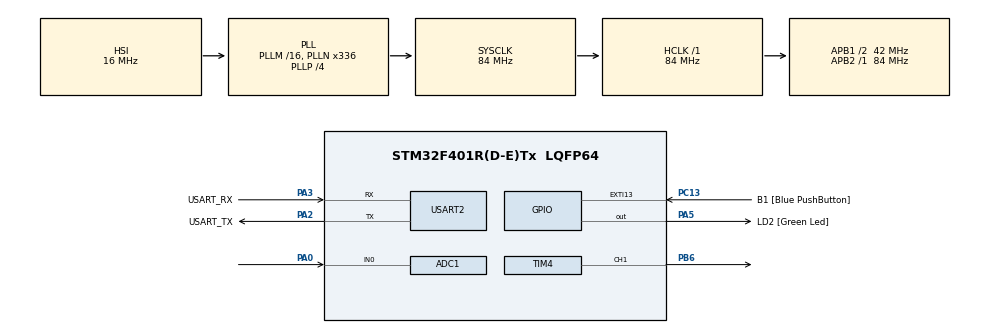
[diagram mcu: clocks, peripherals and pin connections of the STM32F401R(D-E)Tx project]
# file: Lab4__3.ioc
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ADC1.Channel-0\#ChannelRegularConversion=ADC_CHANNEL_0
ADC1.NbrOfConversionFlag=1
ADC1.Rank-0\#ChannelRegularConversion=1
ADC1.SamplingTime-0\#ChannelRegularConversion=ADC_SAMPLETIME_3CYCLES
ADC1.master=1
Mcu.Family=STM32F4
Mcu.Name=STM32F401R(D-E)Tx
Mcu.Package=LQFP64
NVIC.ADC_IRQn=true\:2\:0\:true\:false\:true\:true\:true\:true
NVIC.PriorityGroup=NVIC_PRIORITYGROUP_2
NVIC.TIM4_IRQn=true\:2\:0\:true\:false\:true\:true\:true\:true
PA0-WKUP.Signal=ADCx_IN0
PA13.GPIO_Label=TMS
PA13.Mode=Serial_Wire
PA13.Signal=SYS_JTMS-SWDIO
PA14.GPIO_Label=TCK
PA14.Mode=Serial_Wire
PA14.Signal=SYS_JTCK-SWCLK
PA2.GPIO_Label=USART_TX
PA2.GPIO_Mode=GPIO_MODE_AF_PP
PA2.GPIO_PuPd=GPIO_NOPULL
PA2.GPIO_Speed=GPIO_SPEED_FREQ_LOW
PA2.Mode=Asynchronous
PA2.Signal=USART2_TX
PA3.GPIO_Label=USART_RX
PA3.GPIO_Mode=GPIO_MODE_AF_PP
PA3.GPIO_PuPd=GPIO_NOPULL
PA3.GPIO_Speed=GPIO_SPEED_FREQ_LOW
PA3.Mode=Asynchronous
PA3.Signal=USART2_RX
PA5.GPIO_Label=LD2 [Green Led]
PA5.GPIO_Mode=GPIO_MODE_OUTPUT_PP
PA5.GPIO_PuPd=GPIO_NOPULL
PA5.GPIO_Speed=GPIO_SPEED_FREQ_LOW
PA5.Signal=GPIO_Output
PB3.GPIO_Label=SWO
PB3.Signal=SYS_JTDO-SWO
PB6.Signal=S_TIM4_CH1
PC13-ANTI_TAMP.GPIO_Label=B1 [Blue PushButton]
PC13-ANTI_TAMP.GPIO_ModeDefaultEXTI=GPIO_MODE_IT_FALLING
PC13-ANTI_TAMP.GPIO_PuPd=GPIO_NOPULL
PC13-ANTI_TAMP.Signal=GPXTI13
PC14-OSC32_IN.Mode=LSE-External-Oscillator
PC14-OSC32_IN.Signal=RCC_OSC32_IN
PC15-OSC32_OUT.Mode=LSE-External-Oscillator
PC15-OSC32_OUT.Signal=RCC_OSC32_OUT
PH0\ -\ OSC_IN.Mode=HSE-External-Clock-Source
PH0\ -\ OSC_IN.Signal=RCC_OSC_IN
PH1\ -\ OSC_OUT.Mode=HSE-External-Clock-Source
PH1\ -\ OSC_OUT.Signal=RCC_OSC_OUT
ProjectManager.HeapSize=0x200
ProjectManager.StackSize=0x400
ProjectManager.TargetToolchain=STM32CubeIDE
RCC.48MHZClocksFreq_Value=48000000
RCC.AHBFreq_Value=84000000
RCC.APB1CLKDivider=RCC_HCLK_DIV2
RCC.APB1Freq_Value=42000000
RCC.APB1TimFreq_Value=84000000
RCC.APB2Freq_Value=84000000
RCC.APB2TimFreq_Value=84000000
RCC.CortexFreq_Value=84000000
RCC.HCLKFreq_Value=84000000
RCC.HSE_VALUE=8000000
RCC.HSI_VALUE=16000000
RCC.PLLN=336
RCC.PLLP=RCC_PLLP_DIV4
RCC.PLLQ=7
RCC.SYSCLKFreq_VALUE=84000000
RCC.SYSCLKSource=RCC_SYSCLKSOURCE_PLLCLK
RCC.VCOOutputFreq_Value=336000000
SH.ADCx_IN0.0=ADC1_IN0,IN0
SH.S_TIM4_CH1.0=TIM4_CH1,PWM Generation1 CH1
TIM4.Channel-PWM\ Generation1\ CH1=TIM_CHANNEL_1
TIM4.Period=99
TIM4.Prescaler=83
TIM4.Pulse-PWM\ Generation1\ CH1=50
USART2.VirtualMode=VM_ASYNC
VP_TIM4_VS_ClockSourceINT.Mode=Internal
board=NUCLEO-F401RE

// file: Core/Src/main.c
/* USER CODE BEGIN Header */
/**
  ******************************************************************************
  * @file           : main.c
  * @brief          : Main program body
  ******************************************************************************
  * @attention
  *
  * Copyright (c) 2023 STMicroelectronics.
  * All rights reserved.
  *
  * This software is licensed under terms that can be found in the LICENSE file
  * in the root directory of this software component.
  * If no LICENSE file comes with this software, it is provided AS-IS.
  *
  ******************************************************************************
  */
/* USER CODE END Header */
#include "main.h"

ADC_HandleTypeDef hadc1;

TIM_HandleTypeDef htim4;

UART_HandleTypeDef huart2;

void SystemClock_Config(void);
static void MX_GPIO_Init(void);
static void MX_USART2_UART_Init(void);
static void MX_ADC1_Init(void);
static void MX_TIM4_Init(void);

int main(void)
{

  /* MCU Configuration--------------------------------------------------------*/

  /* Reset of all peripherals, Initializes the Flash interface and the Systick. */
  HAL_Init();

  /* Configure the system clock */
  SystemClock_Config();

  /* Initialize all configured peripherals */
  MX_GPIO_Init();
  MX_USART2_UART_Init();
  MX_ADC1_Init();
  MX_TIM4_Init();
  /* USER CODE BEGIN 2 */
  float mx = 210,mn = 2200;
  float adcval;
  char buf[10];
  int pmw;
  HAL_TIM_Base_Start_IT(&htim4);//start timer
  HAL_TIM_PWM_Start_IT(&htim4, TIM_CHANNEL_1);//start pwm
  /* USER CODE END 2 */

  /* Infinite loop */
  /* USER CODE BEGIN WHILE */
  while (1)
  {
	  HAL_ADC_Start(&hadc1);
	  if(HAL_ADC_PollForConversion(&hadc1, 1000) == HAL_OK){
	  	adcval = HAL_ADC_GetValue(&hadc1);
	  }
	  if(mx < adcval){
		  mx = adcval;
	  }
	  if(mn > adcval){
		  mn = adcval;
	  }
	  float c = mx-adcval;
	  float p = mx-mn;
	  if(mx == mn){
		  pmw = 100;
	  }
	  else{
		  pmw = (1.0-c/p)*100.0;
	  }
	  TIM4->CCR1 = pmw;
	  sprintf(buf,"%d\r\n", pmw);
	  HAL_UART_Transmit(&huart2, (uint8_t *)buf,sizeof(buf), 100);
    /* USER CODE END WHILE */

  }
}

void SystemClock_Config(void)
{
  RCC_OscInitTypeDef RCC_OscInitStruct = {0};
  RCC_ClkInitTypeDef RCC_ClkInitStruct = {0};

  /** Configure the main internal regulator output voltage
  */
  __HAL_RCC_PWR_CLK_ENABLE();
  __HAL_PWR_VOLTAGESCALING_CONFIG(PWR_REGULATOR_VOLTAGE_SCALE2);

  /** Initializes the RCC Oscillators according to the specified parameters
  * in the RCC_OscInitTypeDef structure.
  */
  RCC_OscInitStruct.OscillatorType = RCC_OSCILLATORTYPE_HSI;
  RCC_OscInitStruct.HSIState = RCC_HSI_ON;
  RCC_OscInitStruct.HSICalibrationValue = RCC_HSICALIBRATION_DEFAULT;
  RCC_OscInitStruct.PLL.PLLState = RCC_PLL_ON;
  RCC_OscInitStruct.PLL.PLLSource = RCC_PLLSOURCE_HSI;
  RCC_OscInitStruct.PLL.PLLM = 16;
  RCC_OscInitStruct.PLL.PLLN = 336;
  RCC_OscInitStruct.PLL.PLLP = RCC_PLLP_DIV4;
  RCC_OscInitStruct.PLL.PLLQ = 7;
  if (HAL_RCC_OscConfig(&RCC_OscInitStruct) != HAL_OK)
  {
    Error_Handler();
  }

  /** Initializes the CPU, AHB and APB buses clocks
  */
  RCC_ClkInitStruct.ClockType = RCC_CLOCKTYPE_HCLK|RCC_CLOCKTYPE_SYSCLK
                              |RCC_CLOCKTYPE_PCLK1|RCC_CLOCKTYPE_PCLK2;
  RCC_ClkInitStruct.SYSCLKSource = RCC_SYSCLKSOURCE_PLLCLK;
  RCC_ClkInitStruct.AHBCLKDivider = RCC_SYSCLK_DIV1;
  RCC_ClkInitStruct.APB1CLKDivider = RCC_HCLK_DIV2;
  RCC_ClkInitStruct.APB2CLKDivider = RCC_HCLK_DIV1;

  if (HAL_RCC_ClockConfig(&RCC_ClkInitStruct, FLASH_LATENCY_2) != HAL_OK)
  {
    Error_Handler();
  }
}

static void MX_ADC1_Init(void)
{

  ADC_ChannelConfTypeDef sConfig = {0};

  /** Configure the global features of the ADC (Clock, Resolution, Data Alignment and number of conversion)
  */
  hadc1.Instance = ADC1;
  hadc1.Init.ClockPrescaler = ADC_CLOCK_SYNC_PCLK_DIV4;
  hadc1.Init.Resolution = ADC_RESOLUTION_12B;
  hadc1.Init.ScanConvMode = DISABLE;
  hadc1.Init.ContinuousConvMode = DISABLE;
  hadc1.Init.DiscontinuousConvMode = DISABLE;
  hadc1.Init.ExternalTrigConvEdge = ADC_EXTERNALTRIGCONVEDGE_NONE;
  hadc1.Init.ExternalTrigConv = ADC_SOFTWARE_START;
  hadc1.Init.DataAlign = ADC_DATAALIGN_RIGHT;
  hadc1.Init.NbrOfConversion = 1;
  hadc1.Init.DMAContinuousRequests = DISABLE;
  hadc1.Init.EOCSelection = ADC_EOC_SINGLE_CONV;
  if (HAL_ADC_Init(&hadc1) != HAL_OK)
  {
    Error_Handler();
  }

  /** Configure for the selected ADC regular channel its corresponding rank in the sequencer and its sample time.
  */
  sConfig.Channel = ADC_CHANNEL_0;
  sConfig.Rank = 1;
  sConfig.SamplingTime = ADC_SAMPLETIME_3CYCLES;
  if (HAL_ADC_ConfigChannel(&hadc1, &sConfig) != HAL_OK)
  {
    Error_Handler();
  }

}

static void MX_TIM4_Init(void)
{

  TIM_ClockConfigTypeDef sClockSourceConfig = {0};
  TIM_MasterConfigTypeDef sMasterConfig = {0};
  TIM_OC_InitTypeDef sConfigOC = {0};

  htim4.Instance = TIM4;
  htim4.Init.Prescaler = 83;
  htim4.Init.CounterMode = TIM_COUNTERMODE_UP;
  htim4.Init.Period = 99;
  htim4.Init.ClockDivision = TIM_CLOCKDIVISION_DIV1;
  htim4.Init.AutoReloadPreload = TIM_AUTORELOAD_PRELOAD_DISABLE;
  if (HAL_TIM_Base_Init(&htim4) != HAL_OK)
  {
    Error_Handler();
  }
  sClockSourceConfig.ClockSource = TIM_CLOCKSOURCE_INTERNAL;
  if (HAL_TIM_ConfigClockSource(&htim4, &sClockSourceConfig) != HAL_OK)
  {
    Error_Handler();
  }
  if (HAL_TIM_PWM_Init(&htim4) != HAL_OK)
  {
    Error_Handler();
  }
  sMasterConfig.MasterOutputTrigger = TIM_TRGO_RESET;
  sMasterConfig.MasterSlaveMode = TIM_MASTERSLAVEMODE_DISABLE;
  if (HAL_TIMEx_MasterConfigSynchronization(&htim4, &sMasterConfig) != HAL_OK)
  {
    Error_Handler();
  }
  sConfigOC.OCMode = TIM_OCMODE_PWM1;
  sConfigOC.Pulse = 50;
  sConfigOC.OCPolarity = TIM_OCPOLARITY_HIGH;
  sConfigOC.OCFastMode = TIM_OCFAST_DISABLE;
  if (HAL_TIM_PWM_ConfigChannel(&htim4, &sConfigOC, TIM_CHANNEL_1) != HAL_OK)
  {
    Error_Handler();
  }
  HAL_TIM_MspPostInit(&htim4);

}

static void MX_USART2_UART_Init(void)
{

  huart2.Instance = USART2;
  huart2.Init.BaudRate = 115200;
  huart2.Init.WordLength = UART_WORDLENGTH_8B;
  huart2.Init.StopBits = UART_STOPBITS_1;
  huart2.Init.Parity = UART_PARITY_NONE;
  huart2.Init.Mode = UART_MODE_TX_RX;
  huart2.Init.HwFlowCtl = UART_HWCONTROL_NONE;
  huart2.Init.OverSampling = UART_OVERSAMPLING_16;
  if (HAL_UART_Init(&huart2) != HAL_OK)
  {
    Error_Handler();
  }

}

static void MX_GPIO_Init(void)
{
  GPIO_InitTypeDef GPIO_InitStruct = {0};

  /* GPIO Ports Clock Enable */
  __HAL_RCC_GPIOC_CLK_ENABLE();
  __HAL_RCC_GPIOH_CLK_ENABLE();
  __HAL_RCC_GPIOA_CLK_ENABLE();
  __HAL_RCC_GPIOB_CLK_ENABLE();

  /*Configure GPIO pin Output Level */
  HAL_GPIO_WritePin(LD2_GPIO_Port, LD2_Pin, GPIO_PIN_RESET);

  /*Configure GPIO pin : B1_Pin */
  GPIO_InitStruct.Pin = B1_Pin;
  GPIO_InitStruct.Mode = GPIO_MODE_IT_FALLING;
  GPIO_InitStruct.Pull = GPIO_NOPULL;
  HAL_GPIO_Init(B1_GPIO_Port, &GPIO_InitStruct);

  /*Configure GPIO pin : LD2_Pin */
  GPIO_InitStruct.Pin = LD2_Pin;
  GPIO_InitStruct.Mode = GPIO_MODE_OUTPUT_PP;
  GPIO_InitStruct.Pull = GPIO_NOPULL;
  GPIO_InitStruct.Speed = GPIO_SPEED_FREQ_LOW;
  HAL_GPIO_Init(LD2_GPIO_Port, &GPIO_InitStruct);

}

void Error_Handler(void)
{
  __disable_irq();
  while (1)
  {
  }
}
